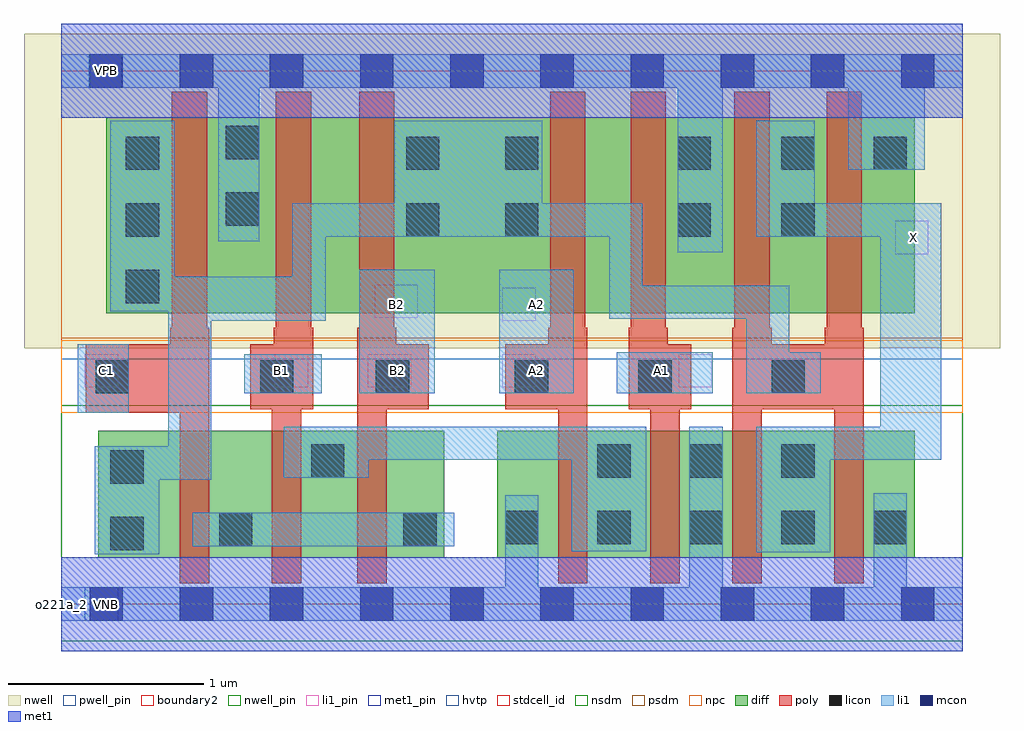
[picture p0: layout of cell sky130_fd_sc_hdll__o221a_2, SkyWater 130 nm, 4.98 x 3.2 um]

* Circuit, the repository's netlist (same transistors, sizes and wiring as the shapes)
* Copyright 2020 The SkyWater PDK Authors
*
* Licensed under the Apache License, Version 2.0 (the "License");
* you may not use this file except in compliance with the License.
* You may obtain a copy of the License at
*
*     https://www.apache.org/licenses/LICENSE-2.0
*
* Unless required by applicable law or agreed to in writing, software
* distributed under the License is distributed on an "AS IS" BASIS,
* WITHOUT WARRANTIES OR CONDITIONS OF ANY KIND, either express or implied.
* See the License for the specific language governing permissions and
* limitations under the License.
*
* SPDX-License-Identifier: Apache-2.0

.SUBCKT sky130_fd_sc_hdll__o221a_2 A1 A2 B1 B2 C1 VGND VNB VPB VPWR X
*.PININFO A1:I A2:I B1:I B2:I C1:I VGND:I VNB:I VPB:I VPWR:I X:O
MMPA0 VPWR A1 sndA1 VPB sky130_fd_pr__pfet_01v8_hvt m=1 w=1.0U l=0.18U mult=1 sa=0.265
+ sb=0.265 sd=0.28 area=0.063 perim=1.14
MMPA1 sndA1 A2 y VPB sky130_fd_pr__pfet_01v8_hvt m=1 w=1.0U l=0.18U mult=1 sa=0.265
+ sb=0.265 sd=0.28 area=0.063 perim=1.14
MMPB0 VPWR B1 sndB1 VPB sky130_fd_pr__pfet_01v8_hvt m=1 w=1.0U l=0.18U mult=1 sa=0.265
+ sb=0.265 sd=0.28 area=0.063 perim=1.14
MMPB1 sndB1 B2 y VPB sky130_fd_pr__pfet_01v8_hvt m=1 w=1.0U l=0.18U mult=1 sa=0.265
+ sb=0.265 sd=0.28 area=0.063 perim=1.14
MMPC0 VPWR C1 y VPB sky130_fd_pr__pfet_01v8_hvt m=1 w=1.0U l=0.18U mult=1 sa=0.265
+ sb=0.265 sd=0.28 area=0.063 perim=1.14
MMIPX X y VPWR VPB sky130_fd_pr__pfet_01v8_hvt m=2 w=1.0U l=0.18U mult=1 sa=0.265
+ sb=0.265 sd=0.28 area=0.063 perim=1.14
MMNA0 pndA A1 VGND VNB sky130_fd_pr__nfet_01v8 m=1 w=0.65U l=0.15U mult=1 sa=0.265
+ sb=0.265 sd=0.28 area=0.063 perim=1.14
MMNA1 pndA A2 VGND VNB sky130_fd_pr__nfet_01v8 m=1 w=0.65U l=0.15U mult=1 sa=0.265
+ sb=0.265 sd=0.28 area=0.063 perim=1.14
MMNB0 pndB B1 pndA VNB sky130_fd_pr__nfet_01v8 m=1 w=0.65U l=0.15U mult=1 sa=0.265
+ sb=0.265 sd=0.28 area=0.063 perim=1.14
MMNB1 pndB B2 pndA VNB sky130_fd_pr__nfet_01v8 m=1 w=0.65U l=0.15U mult=1 sa=0.265
+ sb=0.265 sd=0.28 area=0.063 perim=1.14
MMNC0 y C1 pndB VNB sky130_fd_pr__nfet_01v8 m=1 w=0.65U l=0.15U mult=1 sa=0.265
+ sb=0.265 sd=0.28 area=0.063 perim=1.14
MMINX X y VGND VNB sky130_fd_pr__nfet_01v8 m=2 w=0.65U l=0.15U mult=1 sa=0.265
+ sb=0.265 sd=0.28 area=0.063 perim=1.14
.ENDS sky130_fd_sc_hdll__o221a_2

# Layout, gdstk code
import gdstk
lib = gdstk.Library(unit=1e-6, precision=1e-09)
def R(c, l, rs):  # rectangles x0, y0, x1, y1
    for r in rs: c.add(gdstk.rectangle(r[:2], r[2:], *l))
def A(c, l, x, y, w, h, nx, ny, dx, dy):  # array of equal rectangles
    R(c, l, [(x+i*dx, y+j*dy, x+i*dx+w, y+j*dy+h) for i in range(nx) for j in range(ny)])
def P(c, l, *ps):  # polygons
    for p in ps: c.add(gdstk.Polygon(p, *l))
nwell_pin = (64, 16)
nwell = (64, 20)
diff = (65, 20)
poly = (66, 20)
licon = (66, 44)
li1_pin = (67, 16)
li1 = (67, 20)
mcon = (67, 44)
met1_pin = (68, 16)
met1 = (68, 20)
hvtp = (78, 44)
stdcell_id = (81, 4)
nsdm = (93, 44)
psdm = (94, 20)
npc = (95, 20)
pwell_pin = (122, 16)
boundary2 = (236, 0)

sky130_fd_sc_hdll__o221a = lib.new_cell('sky130_fd_sc_hdll__o221a_2')
R(sky130_fd_sc_hdll__o221a, nwell_pin, [(0.14,2.635,0.31,2.805)])
R(sky130_fd_sc_hdll__o221a, nwell, [(-0.19,1.305,4.79,2.91)])
R(sky130_fd_sc_hdll__o221a, diff, [(0.19,0.235,1.955,0.885), (2.225,0.235,4.355,0.885), (0.23,1.485,4.355,2.485)])
P(sky130_fd_sc_hdll__o221a, poly, [(0.755,1.41),(0.745,1.41),(0.745,2.615),(0.565,2.615),(0.565,1.41),(0.555,1.41),(0.555,1.325),(0.125,1.325),(0.125,0.975),(0.605,0.975),(0.605,0.105),(0.755,0.105)],
  [(1.285,1.41),(1.275,1.41),(1.275,2.615),(1.095,2.615),(1.095,1.41),(1.085,1.41),(1.085,1.325),(0.965,1.325),(0.965,0.995),(1.075,0.995),(1.075,0.105),(1.225,0.105),(1.225,0.995),(1.285,0.995)],
  [(1.875,1.325),(1.71,1.325),(1.71,1.41),(1.7,1.41),(1.7,2.615),(1.52,2.615),(1.52,1.41),(1.51,1.41),(1.51,0.105),(1.66,0.105),(1.66,0.995),(1.875,0.995)],
  [(2.685,1.41),(2.675,1.41),(2.675,2.615),(2.495,2.615),(2.495,1.41),(2.485,1.41),(2.485,1.325),(2.265,1.325),(2.265,0.995),(2.535,0.995),(2.535,0.105),(2.685,0.105)],
  [(3.215,1.325),(3.095,1.325),(3.095,1.41),(3.085,1.41),(3.085,2.615),(2.905,2.615),(2.905,1.41),(2.895,1.41),(2.895,0.995),(3.005,0.995),(3.005,0.105),(3.155,0.105),(3.155,0.995),(3.215,0.995)],
  [(4.095,1.41),(4.085,1.41),(4.085,2.615),(3.905,2.615),(3.905,1.41),(3.895,1.41),(3.895,1.325),(3.625,1.325),(3.625,1.41),(3.615,1.41),(3.615,2.615),(3.435,2.615),(3.435,1.41),(3.425,1.41),(3.425,0.105),(3.575,0.105),(3.575,0.995),(3.945,0.995),(3.945,0.105),(4.095,0.105)])
A(sky130_fd_sc_hdll__o221a, licon, 2.265, 0.305, 0.17, 0.17, 5, 1, 0.47, 0)
A(sky130_fd_sc_hdll__o221a, licon, 2.735, 0.645, 0.17, 0.17, 3, 1, 0.47, 0)
A(sky130_fd_sc_hdll__o221a, licon, 0.33, 1.535, 0.17, 0.17, 1, 3, 0, 0.34)
R(sky130_fd_sc_hdll__o221a, licon, [(0.25,0.275,0.42,0.445), (0.805,0.295,0.975,0.465), (1.745,0.295,1.915,0.465), (0.25,0.615,0.42,0.785), (1.275,0.645,1.445,0.815), (0.175,1.075,0.345,1.245), (1.015,1.075,1.185,1.245), (1.605,1.075,1.775,1.245), (2.315,1.075,2.485,1.245), (2.945,1.075,3.115,1.245), (3.625,1.075,3.795,1.245), (1.76,1.875,1.93,2.045), (2.265,1.875,2.435,2.045), (3.145,1.875,3.315,2.045), (3.675,1.875,3.845,2.045), (0.84,1.93,1.01,2.1), (1.76,2.215,1.93,2.385), (2.265,2.215,2.435,2.385), (3.145,2.215,3.315,2.385), (3.675,2.215,3.845,2.385), (4.145,2.215,4.315,2.385), (0.84,2.27,1.01,2.44)])
R(sky130_fd_sc_hdll__o221a, li1_pin, [(0.12,1.105,0.29,1.275), (1.09,1.105,1.26,1.275), (1.565,1.105,1.785,1.275), (2.25,1.105,2.42,1.275), (3.15,1.105,3.32,1.275), (2.25,1.445,2.42,1.615), (1.6,1.46,1.82,1.63), (4.255,1.785,4.425,1.955)])
R(sky130_fd_sc_hdll__o221a, li1, [(0.67,0.295,2.005,0.465), (0.085,0.975,0.345,1.325), (0.935,1.075,1.33,1.275), (1.52,1.075,1.905,1.705), (2.235,1.075,2.615,1.705), (2.835,1.075,3.325,1.285)])
P(sky130_fd_sc_hdll__o221a, li1, [(4.6,0.085),(4.315,0.085),(4.315,0.565),(4.145,0.565),(4.145,0.085),(3.375,0.085),(3.375,0.905),(3.205,0.905),(3.205,0.085),(2.435,0.085),(2.435,0.555),(2.265,0.555),(2.265,0.085),(0,0.085),(0,-0.085),(4.6,-0.085)],
  [(4.6,2.805),(0,2.805),(0,2.635),(0.8,2.635),(0.8,1.85),(1.01,1.85),(1.01,2.635),(3.145,2.635),(3.145,1.795),(3.375,1.795),(3.375,2.635),(4.015,2.635),(4.015,2.215),(4.405,2.215),(4.405,2.635),(4.6,2.635)],
  [(2.985,0.905),(1.135,0.905),(1.135,0.645),(1.57,0.645),(1.57,0.735),(2.605,0.735),(2.605,0.27),(2.985,0.27)],
  [(3.875,1.285),(3.715,1.285),(3.715,1.625),(2.965,1.625),(2.965,2.045),(2.455,2.045),(2.455,2.465),(1.7,2.465),(1.7,2.045),(1.18,2.045),(1.18,1.67),(0.58,1.67),(0.58,2.465),(0.25,2.465),(0.25,1.495),(0.545,1.495),(0.545,0.805),(0.17,0.805),(0.17,0.255),(0.5,0.255),(0.5,0.635),(0.765,0.635),(0.765,1.445),(1.35,1.445),(1.35,1.875),(2.795,1.875),(2.795,1.455),(3.495,1.455),(3.495,1.075),(3.875,1.075)],
  [(4.49,2.045),(3.845,2.045),(3.845,2.465),(3.545,2.465),(3.545,1.875),(4.18,1.875),(4.18,0.905),(3.545,0.905),(3.545,0.265),(3.925,0.265),(3.925,0.735),(4.49,0.735)])
A(sky130_fd_sc_hdll__o221a, mcon, 0.145, -0.085, 0.17, 0.17, 10, 2, 0.46, 2.72)
R(sky130_fd_sc_hdll__o221a, met1_pin, [(0.12,-0.085,0.29,0.085), (0.14,2.635,0.31,2.805)])
R(sky130_fd_sc_hdll__o221a, met1, [(0,-0.24,4.6,0.24), (0,2.48,4.6,2.96)])
R(sky130_fd_sc_hdll__o221a, hvtp, [(0,1.25,4.6,2.72)])
R(sky130_fd_sc_hdll__o221a, stdcell_id, [(0,0,4.6,2.72)])
R(sky130_fd_sc_hdll__o221a, nsdm, [(0,-0.19,4.6,1.015)])
R(sky130_fd_sc_hdll__o221a, psdm, [(0,1.355,4.6,2.91)])
R(sky130_fd_sc_hdll__o221a, npc, [(0,0.975,4.6,1.345)])
R(sky130_fd_sc_hdll__o221a, pwell_pin, [(0.12,-0.085,0.29,0.085)])
R(sky130_fd_sc_hdll__o221a, boundary2, [(0,0,4.6,2.72)])
sky130_fd_sc_hdll__o221a.add(gdstk.Label('B2', (1.71,1.53), layer=67, texttype=5))
sky130_fd_sc_hdll__o221a.add(gdstk.Label('A2', (2.425,1.53), layer=67, texttype=5))
sky130_fd_sc_hdll__o221a.add(gdstk.Label('A2', (2.425,1.19), layer=67, texttype=5))
sky130_fd_sc_hdll__o221a.add(gdstk.Label('X', (4.35,1.87), layer=67, texttype=5))
sky130_fd_sc_hdll__o221a.add(gdstk.Label('B1', (1.125,1.19), layer=67, texttype=5))
sky130_fd_sc_hdll__o221a.add(gdstk.Label('C1', (0.23,1.19), layer=67, texttype=5))
sky130_fd_sc_hdll__o221a.add(gdstk.Label('A1', (3.065,1.19), layer=67, texttype=5))
sky130_fd_sc_hdll__o221a.add(gdstk.Label('B2', (1.715,1.19), layer=67, texttype=5))
sky130_fd_sc_hdll__o221a.add(gdstk.Label('VPB', (0.23,2.72), layer=64, texttype=5))
sky130_fd_sc_hdll__o221a.add(gdstk.Label('VNB', (0.23,0), layer=64, texttype=59))
sky130_fd_sc_hdll__o221a.add(gdstk.Label('VGND', (0.23,0), layer=68, texttype=5))
sky130_fd_sc_hdll__o221a.add(gdstk.Label('VPWR', (0.23,2.72), layer=68, texttype=5))
sky130_fd_sc_hdll__o221a.add(gdstk.Label('o221a_2', (0,0), layer=83, texttype=44))

lib.write_gds('sky130_fd_sc_hdll__o221a_2.gds')
